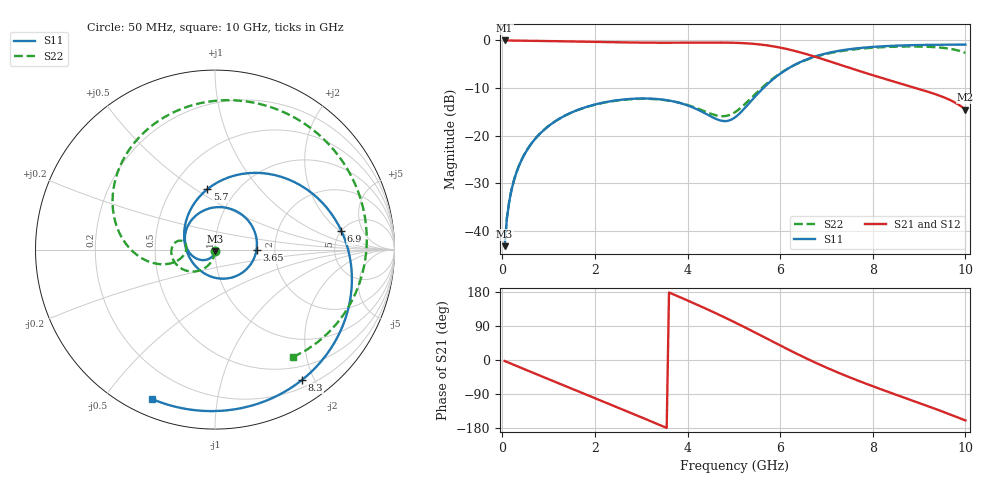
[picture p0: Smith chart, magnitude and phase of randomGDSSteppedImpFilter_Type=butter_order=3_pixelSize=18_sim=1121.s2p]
! freq	dB(S11)	phase(S11)	dB(S12)	phase(S12)
!  dB(S21)	phase(S21)	dB(S22)	phase(S22)
!S-par simulation data
#  GHz  S  DB  R 50
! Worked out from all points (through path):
!   200 points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, 50 MHz to 10 GHz, reference 50 ohm
!   highest |S21| = 0.00 dB at 50 MHz (marker M1); lowest = -14.5 dB at 10 GHz (marker M2)
!   group delay of S21, straight-line fit = 149 ps
!   lowest |S11| = -43.2 dB at 50 MHz (marker M3), VSWR 1.01, Z = 50 - j0.689 ohm
!   |S11| at or under -10 dB: start of sweep to 5.636 GHz
!   |S22| runs from -43.2 to -1.3 dB; largest |S21 - S12| = 0
!   S11 on the Smith chart (normalised r, x): 50 MHz: 1.00, -0.01; 3.65 GHz: 1.60, -0.00; 5.7 GHz: 0.74, +0.56; 6.9 GHz: 5.00, +2.13; 8.3 GHz: 0.30, -1.84; 10 GHz: 0.07, -0.66
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0.05  -43.22 -92.4  -0.00 -2.6  -0.00 -2.6  -43.17 -90.2
0.1  -37.29 -96.3  -0.01 -5.1  -0.01 -5.1  -37.26 -92.2
0.2  -31.36 -104.0  -0.02 -10.2  -0.02 -10.2  -31.32 -96.0
0.5  -23.57 -125.8  -0.05 -25.4  -0.05 -25.4  -23.54 -106.0
1.15  -16.94 -172.3  -0.16 -58.2  -0.16 -58.2  -16.93 -125.7
1.75  -14.18 144.3  -0.27 -88.2  -0.27 -88.2  -14.20 -142.5
2.5  -12.54 88.8  -0.40 -125.8  -0.40 -125.8  -12.60 -161.7
3.4  -12.36 19.9  -0.48 -171.5  -0.48 -171.5  -12.41 177.0
3.65  -12.72 -0.3  -0.48 175.6  -0.48 175.6  -12.74 171.9
4.3  -14.92 -61.3  -0.45 140.8  -0.45 140.8  -14.62 165.5
5.05  -15.98 -178.4  -0.50 97.7  -0.50 97.7  -14.91 -169.2
5.7  -9.40 97.4  -1.01 57.4  -1.01 57.4  -9.14 -167.5
6.2  -5.74 54.8  -1.93 26.1  -1.93 26.1  -5.72 173.5
6.7  -3.54 20.5  -3.26 -3.5  -3.26 -3.5  -3.63 149.3
6.9  -2.96 8.5  -3.86 -14.7  -3.86 -14.7  -3.07 139.1
7.65  -1.66 -29.6  -6.23 -52.9  -6.23 -52.9  -1.82 100.9
8.3  -1.18 -56.2  -8.19 -82.7  -8.19 -82.7  -1.38 67.3
8.35  -1.16 -58.0  -8.34 -84.9  -8.34 -84.9  -1.36 64.6
8.85  -0.99 -75.7  -9.76 -106.8  -9.76 -106.8  -1.27 37.1
9.35  -0.91 -92.1  -11.28 -129.0  -11.28 -129.0  -1.42 5.7
9.7  -0.89 -103.3  -12.66 -145.2  -12.66 -145.2  -1.81 -21.8
10  -0.88 -112.9  -14.52 -159.4  -14.52 -159.4  -2.62 -54.3
